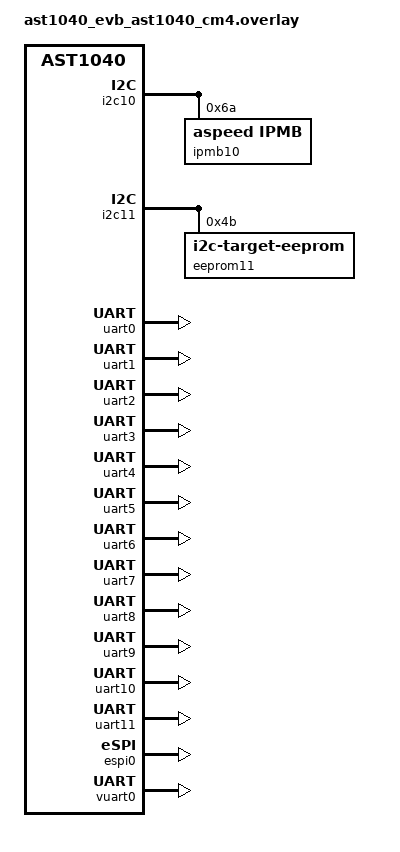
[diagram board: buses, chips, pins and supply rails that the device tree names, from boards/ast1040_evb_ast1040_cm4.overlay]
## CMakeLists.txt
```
# SPDX-License-Identifier: Apache-2.0
#
# Build the peripheral tests into one concurrent test image.

cmake_minimum_required(VERSION 3.20.0)

find_package(Zephyr REQUIRED HINTS $ENV{ZEPHYR_BASE})
project(ast1040_evb_all)

add_definitions(-DAST1040_CONCURRENT_ALL)

set(PERIPH_DIR ${CMAKE_CURRENT_SOURCE_DIR}/..)

target_sources(app PRIVATE
  src/main.c
  ${PERIPH_DIR}/gpio/src/main.c
  ${PERIPH_DIR}/cptra/src/main.c
  ${PERIPH_DIR}/i2c/src/main.c
  ${PERIPH_DIR}/otp/src/main.c
  ${PERIPH_DIR}/uart/src/main.c
  ${PERIPH_DIR}/spi/src/main.c
  ${PERIPH_DIR}/espi/src/main.c
)

target_include_directories(app PRIVATE ${CMAKE_CURRENT_SOURCE_DIR}/../common)
```

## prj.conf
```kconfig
CONFIG_GPIO=y
CONFIG_GPIO_ASPEED_G7=y
CONFIG_CPTRA_MCI_MBOX=y
CONFIG_CPTRA_MCI_CRYPTOGRAPHIC_MBOX=y
# Worker threads right now (gpio, cptra_mci, i2c, otp, uart, spi, espi,
# espi_perif, espi_oob, espi_safs), plus the espi test's own
# perif_thread/oob_thread/vuart_thread background threads - see the
# ast1030_evb/all/prj.conf precedent: catches a thread-stack overflow as a
# clean fault (MPU-backed) instead of silently corrupting an adjacent
# thread's stack or the heap.
CONFIG_HWINFO=y
CONFIG_I2C=y
CONFIG_I2C_ASPEED=y
CONFIG_I2C_EEPROM_TARGET=y
CONFIG_I2C_IPMB_TARGET=y
CONFIG_I2C_TARGET=y
CONFIG_OTP_AST27XX=y
CONFIG_SERIAL=y
CONFIG_UART_ASPEED=y
CONFIG_FLASH=y
CONFIG_SPI=y
CONFIG_SPI_ASPEED=y
# Generic upstream SPI_NOR must stay off; see spi/prj.conf.
CONFIG_SPI_NOR=n
CONFIG_EVENTS=y
CONFIG_ESPI=y
CONFIG_ESPI_ASPEED_V2=y
CONFIG_ESPI_FLASH_CHANNEL=y
CONFIG_ESPI_TAF=y
# More than one concurrent worker thread now - catches a thread-stack
# overflow as a clean fault (MPU-backed) instead of silently corrupting an
# adjacent thread's stack or the heap. See ast1030_evb/all/prj.conf.
CONFIG_HW_STACK_PROTECTION=y
CONFIG_TEST_RANDOM_GENERATOR=y
CONFIG_ZTEST=y
# 7 ipmb targets malloc buffers at boot, starving the spi thread's heap use.
CONFIG_HEAP_MEM_POOL_SIZE=32768
```

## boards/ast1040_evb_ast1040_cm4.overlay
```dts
/*
 * Copyright (c) 2026 Aspeed Technology Inc.
 *
 * SPDX-License-Identifier: Apache-2.0
 *
 * GPIO, I2C, UART, SPI, and eSPI nodes required by the combined test image.
 */

/* GPIO loopback */

&gpio0 {
	status = "okay";
};

&gpio0_96_127 {
	status = "okay";
};

/* I2C loopback */

/*
 * i2c4/i2c5 targets are defined by the board. Other wired pairs are omitted
 * because they conflict with the board's PWM/TACH pinmux.
 */

&i2c10 {
	status = "okay";

	ipmb10: ipmb@6a {
		compatible = "aspeed,ipmb";
		reg = <0x6a>;
		size = <5>;
	};
};

&i2c11 {
	status = "okay";

	eeprom11: eeprom@4b {
		compatible = "zephyr,i2c-target-eeprom";
		reg = <0x4b>;
		size = <256>;
	};
};

/*
 * UART internal loopback (MCR loopback bit) - never reaches the TX/RX pins,
 * so no pinctrl-0 is needed. uart12 is already enabled by the board dts as
 * the console/shell UART.
 */

&uart0 {
	/delete-property/ pinctrl-names;
	/delete-property/ pinctrl-0;
	status = "okay";
};

&uart1 {
	/delete-property/ pinctrl-names;
	/delete-property/ pinctrl-0;
	status = "okay";
};

&uart2 {
	/delete-property/ pinctrl-names;
	/delete-property/ pinctrl-0;
	status = "okay";
};

&uart3 {
	/delete-property/ pinctrl-names;
	/delete-property/ pinctrl-0;
	status = "okay";
};

&uart4 {
	/delete-property/ pinctrl-names;
	/delete-property/ pinctrl-0;
	status = "okay";
};

&uart5 {
	/delete-property/ pinctrl-names;
	/delete-property/ pinctrl-0;
	status = "okay";
};

&uart6 {
	/delete-property/ pinctrl-names;
	/delete-property/ pinctrl-0;
	status = "okay";
};

&uart7 {
	/delete-property/ pinctrl-names;
	/delete-property/ pinctrl-0;
	status = "okay";
};

&uart8 {
	/delete-property/ pinctrl-names;
	/delete-property/ pinctrl-0;
	status = "okay";
};

&uart9 {
	/delete-property/ pinctrl-names;
	/delete-property/ pinctrl-0;
	status = "okay";
};

&uart10 {
	/delete-property/ pinctrl-names;
	/delete-property/ pinctrl-0;
	status = "okay";
};

&uart11 {
	/delete-property/ pinctrl-names;
	/delete-property/ pinctrl-0;
	status = "okay";
};

/*
 * SPI flash - see tests/boards/ast1040_evb/spi/boards for the per-device
 * offsets and why fmc_cs1 is left disabled.
 */

&fmc_cs0 {
	spi-max-buswidth = <4>;
	spi-max-frequency = <50000000>;
};

&spi0_cs0 {
	spi-max-buswidth = <4>;
	spi-max-frequency = <50000000>;
};

&spi0_cs1 {
	spi-max-buswidth = <4>;
	spi-max-frequency = <50000000>;
};

&spi1_cs0 {
	spi-max-buswidth = <4>;
	spi-max-frequency = <50000000>;
};

&spi1_cs1 {
	spi-max-buswidth = <4>;
	spi-max-frequency = <50000000>;
};

/* eSPI auto-test (perif mcyc/oob/safs) */

&espi0 {
	status = "okay";
	perif-mcyc-enable;
	perif-mcyc-src-addr = <0x0 0x98000000>;
	perif-mcyc-size = <0x0 0x10000>;
	flash-edaf-mode = <1>;
};

&vuart0 {
	virtual,port = <0x3f8>;
	virtual,sirq = <4>;
	virtual,sirq-polarity = <0>;
	status = "okay";
};

&dram_ro_region {
	reg = <0x0 DT_SIZE_K(1024)>;
};

&dram_rw_region {
	reg = <0x100000 DT_SIZE_K(14336 - 1024 - 512)>;
};
```

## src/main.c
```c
/*
 * Copyright (c) 2026 Aspeed Technology Inc.
 *
 * SPDX-License-Identifier: Apache-2.0
 *
 * Runs each AST1040 peripheral test in a separate thread.
 */

#include <zephyr/kernel.h>
#include <zephyr/sys/printk.h>
#include <zephyr/ztest.h>

extern int test_gpio(void);
extern int test_cptra_mci(void);
extern int test_i2c(void);
extern int test_otp(void);
extern int test_uart(void);
extern int test_spi(void);
extern int test_espi_link(void);
extern int test_espi_perif(void);
extern int test_espi_oob(void);
extern int test_espi_safs(void);

typedef int (*test_func_t)(void);

struct aspeed_tests {
	const char *name;
	test_func_t test;
	int results;
};

static struct aspeed_tests aspeed_testcase[] = {
	{"gpio", test_gpio, -1},
	{"cptra_mci", test_cptra_mci, -1},
	{"i2c", test_i2c, -1},
	{"otp", test_otp, -1},
	{"uart", test_uart, -1},
	{"spi", test_spi, -1},
	{"espi_link", test_espi_link, -1},
	{"espi_perif", test_espi_perif, -1},
	{"espi_oob", test_espi_oob, -1},
	{"espi_safs", test_espi_safs, -1},
};

#define TEST_MODULE_CNT ARRAY_SIZE(aspeed_testcase)
#define TEST_STACKSIZE  4096
#define TEST_CI_TIMEOUT (5 * 60)

K_THREAD_STACK_ARRAY_DEFINE(test_thread_stack, TEST_MODULE_CNT, TEST_STACKSIZE);
static struct k_thread ztest_thread[TEST_MODULE_CNT];
static int unit_test_remain;

static void aspeed_show_banner(bool is_passed)
{
	if (is_passed) {
		printk("\x1b[;32;1m\n"
		       "########     ###     ######   ######  ######## ########\n"
		       "##     ##   ## ##   ##    ## ##    ## ##       ##     ##\n"
		       "##     ##  ##   ##  ##       ##       ##       ##     ##\n"
		       "########  ##     ##  ######   ######  ######   ##     ##\n"
		       "##        #########       ##       ## ##       ##     ##\n"
		       "##        ##     ## ##    ## ##    ## ##       ##     ##\n"
		       "##        ##     ##  ######   ######  ######## ########\n"
		       "\x1b[0;m\n");
	} else {
		printk("\x1b[;31;1m\n"
		       "########    ###    #### ##       ######## ########\n"
		       "##         ## ##    ##  ##       ##       ##     ##\n"
		       "##        ##   ##   ##  ##       ##       ##     ##\n"
		       "######   ##     ##  ##  ##       ######   ##     ##\n"
		       "##       #########  ##  ##       ##       ##     ##\n"
		       "##       ##     ##  ##  ##       ##       ##     ##\n"
		       "##       ##     ## #### ######## ######## ########\n"
		       "\x1b[0;m\n");
	}
}

static void aspeed_test_cb(void *a, void *b, void *c)
{
	int num = (int)(intptr_t)a;

	ARG_UNUSED(b);
	ARG_UNUSED(c);

	printk("START - %s\n", aspeed_testcase[num].name);
	aspeed_testcase[num].results = aspeed_testcase[num].test();
	unit_test_remain--;
	printk("%s - %s\n", aspeed_testcase[num].results ? "FAIL" : "PASS",
	       aspeed_testcase[num].name);
}

static void aspeed_create_test(int thread_num)
{
	k_thread_create(&ztest_thread[thread_num], test_thread_stack[thread_num],
			 TEST_STACKSIZE, (k_thread_entry_t)aspeed_test_cb,
			 (void *)(intptr_t)thread_num, NULL, NULL, CONFIG_ZTEST_THREAD_PRIORITY,
			 0, K_FOREVER);
	k_thread_name_set(&ztest_thread[thread_num], aspeed_testcase[thread_num].name);
}

static void aspeed_run_test(void)
{
	for (int i = 0; i < TEST_MODULE_CNT; i++) {
		k_thread_start(&ztest_thread[i]);
	}
}

static bool aspeed_terminate_test(void)
{
	bool is_passed = true;

	printk("\nTest Counter: %d.\n", (int)TEST_MODULE_CNT);

	for (int i = 0; i < TEST_MODULE_CNT; i++) {
		k_thread_abort(&ztest_thread[i]);
		if (aspeed_testcase[i].results) {
			is_passed = false;
		}

		printk("Case %d - %s results: %s\n", i + 1, aspeed_testcase[i].name,
		       aspeed_testcase[i].results ? "FAILED" : "PASSED");
	}

	aspeed_show_banner(is_passed);

	return is_passed;
}

static bool aspeed_run_test_suite(void)
{
	int timer = 0;

	for (int i = 0; i < TEST_MODULE_CNT; i++) {
		aspeed_create_test(i);
	}

	unit_test_remain = TEST_MODULE_CNT;

	aspeed_run_test();

	while (unit_test_remain && (timer < TEST_CI_TIMEOUT)) {
		timer++;
		k_sleep(K_SECONDS(1));
	}

	if (unit_test_remain) {
		printk("TIMEOUT! Total test case: %d, remaining: %d\n", (int)TEST_MODULE_CNT,
		       unit_test_remain);
	}

	return aspeed_terminate_test();
}

ZTEST(all, test_ast1040)
{
	zassert_true(aspeed_run_test_suite(), "test ast1040 failed");
}

ZTEST_SUITE(all, NULL, NULL, NULL, NULL, NULL);
```
